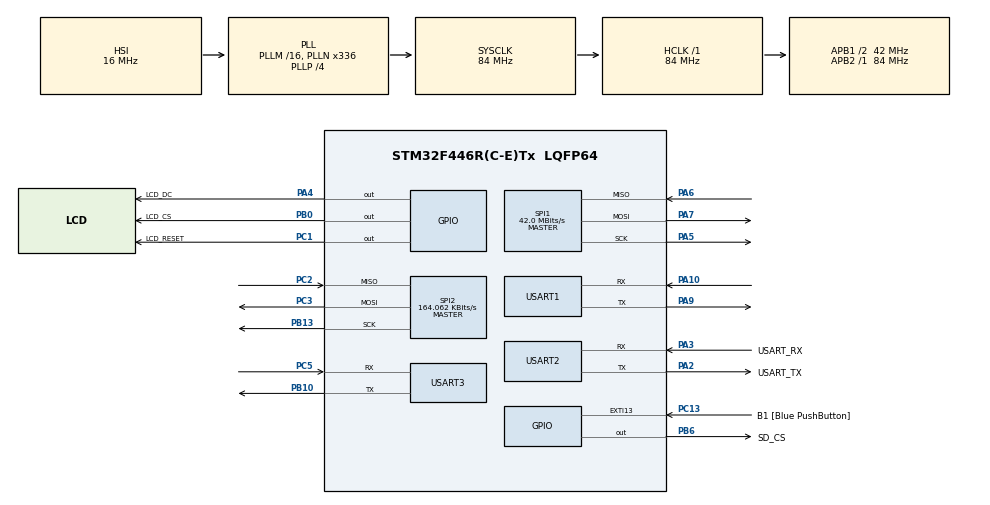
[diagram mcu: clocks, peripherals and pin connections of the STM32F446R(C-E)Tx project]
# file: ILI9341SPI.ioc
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FATFS._MAX_SS=4096
FATFS._USE_LFN=1
Mcu.Family=STM32F4
Mcu.Name=STM32F446R(C-E)Tx
Mcu.Package=LQFP64
NVIC.PriorityGroup=NVIC_PRIORITYGROUP_0
NVIC.USART1_IRQn=true\:0\:0\:false\:false\:true\:true\:true\:true
PA10.Mode=Asynchronous
PA10.Signal=USART1_RX
PA13.GPIO_Label=TMS
PA13.Mode=Serial_Wire
PA13.Signal=SYS_JTMS-SWDIO
PA14.GPIO_Label=TCK
PA14.Mode=Serial_Wire
PA14.Signal=SYS_JTCK-SWCLK
PA2.GPIO_Label=USART_TX
PA2.Mode=Asynchronous
PA2.Signal=USART2_TX
PA3.GPIO_Label=USART_RX
PA3.Mode=Asynchronous
PA3.Signal=USART2_RX
PA4.GPIO_Label=LCD_DC
PA4.GPIO_Speed=GPIO_SPEED_FREQ_MEDIUM
PA4.Signal=GPIO_Output
PA5.Mode=Full_Duplex_Master
PA5.Signal=SPI1_SCK
PA6.Mode=Full_Duplex_Master
PA6.Signal=SPI1_MISO
PA7.Mode=Full_Duplex_Master
PA7.Signal=SPI1_MOSI
PA9.Mode=Asynchronous
PA9.Signal=USART1_TX
PB0.GPIO_Label=LCD_CS
PB0.GPIO_Speed=GPIO_SPEED_FREQ_MEDIUM
PB0.Signal=GPIO_Output
PB10.Mode=Asynchronous
PB10.Signal=USART3_TX
PB13.Mode=Full_Duplex_Master
PB13.Signal=SPI2_SCK
PB3.GPIO_Label=SWO
PB3.Signal=SYS_JTDO-SWO
PB6.GPIO_Label=SD_CS
PB6.GPIO_Speed=GPIO_SPEED_FREQ_MEDIUM
PB6.PinState=GPIO_PIN_SET
PB6.Signal=GPIO_Output
PC1.GPIO_Label=LCD_RESET
PC1.GPIO_Speed=GPIO_SPEED_FREQ_MEDIUM
PC1.Signal=GPIO_Output
PC13.GPIO_Label=B1 [Blue PushButton]
PC13.GPIO_ModeDefaultEXTI=GPIO_MODE_IT_FALLING
PC13.Signal=GPXTI13
PC14-OSC32_IN.Mode=LSE-External-Oscillator
PC14-OSC32_IN.Signal=RCC_OSC32_IN
PC15-OSC32_OUT.Mode=LSE-External-Oscillator
PC15-OSC32_OUT.Signal=RCC_OSC32_OUT
PC2.Mode=Full_Duplex_Master
PC2.Signal=SPI2_MISO
PC3.Mode=Full_Duplex_Master
PC3.Signal=SPI2_MOSI
PC5.Mode=Asynchronous
PC5.Signal=USART3_RX
PH0-OSC_IN.Mode=HSE-External-Oscillator
PH0-OSC_IN.Signal=RCC_OSC_IN
PH1-OSC_OUT.Mode=HSE-External-Oscillator
PH1-OSC_OUT.Signal=RCC_OSC_OUT
ProjectManager.HeapSize=0x200
ProjectManager.StackSize=0x400
ProjectManager.TargetToolchain=STM32CubeIDE
RCC.48MHZClocksFreq_Value=84000000
RCC.AHBFreq_Value=84000000
RCC.APB1CLKDivider=RCC_HCLK_DIV2
RCC.APB1Freq_Value=42000000
RCC.APB1TimFreq_Value=84000000
RCC.APB2Freq_Value=84000000
RCC.APB2TimFreq_Value=84000000
RCC.CortexFreq_Value=84000000
RCC.FLatency-AdvancedSettings=FLASH_LATENCY_2
RCC.HCLKFreq_Value=84000000
RCC.HSE_VALUE=8000000
RCC.HSI_VALUE=16000000
RCC.PLLN=336
RCC.PLLP=RCC_PLLP_DIV4
RCC.SYSCLKFreq_VALUE=84000000
RCC.SYSCLKSource=RCC_SYSCLKSOURCE_PLLCLK
RCC.USBFreq_Value=168000000
RCC.VCOOutputFreq_Value=336000000
SPI1.BaudRatePrescaler=SPI_BAUDRATEPRESCALER_2
SPI1.CalculateBaudRate=42.0 MBits/s
SPI1.Direction=SPI_DIRECTION_2LINES
SPI1.Mode=SPI_MODE_MASTER
SPI1.VirtualType=VM_MASTER
SPI2.BaudRatePrescaler=SPI_BAUDRATEPRESCALER_256
SPI2.CalculateBaudRate=164.062 KBits/s
SPI2.Direction=SPI_DIRECTION_2LINES
SPI2.Mode=SPI_MODE_MASTER
SPI2.VirtualType=VM_MASTER
USART1.VirtualMode=VM_ASYNC
USART2.VirtualMode=VM_ASYNC
USART3.VirtualMode=VM_ASYNC
VP_FATFS_VS_Generic.Mode=User_defined
board=NUCLEO-F446RE

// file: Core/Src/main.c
/* USER CODE BEGIN Header */
/**
 ******************************************************************************
 * @file           : main.c
 * @brief          : Main program body
 ******************************************************************************
 * @attention
 *
 * Copyright (c) 2024 STMicroelectronics.
 * All rights reserved.
 *
 * This software is licensed under terms that can be found in the LICENSE file
 * in the root directory of this software component.
 * If no LICENSE file comes with this software, it is provided AS-IS.
 *
 ******************************************************************************
 */
/* USER CODE END Header */
#include "main.h"
#include "fatfs.h"

/* USER CODE BEGIN Includes */
#include "ili9341.h"
#include "bitmaps.h"
#include "fatfs_sd.h"
#include <string.h>
#include <stdio.h>
/* USER CODE END Includes */

/* USER CODE BEGIN PTD */

// Struct para definir direcciones
typedef enum {
    DIR_UP    = 0,
    DIR_LEFT  = 1,
    DIR_DOWN  = 2,
    DIR_RIGHT = 3
} BikeDir;

// Struct principal para definir jugadores/motos
typedef struct {
    int             x, y;
    int             prev_x, prev_y;
    BikeDir         dir;
    int             speed;
    const uint16_t *sheet;			// Sprite seleccionado
    uint16_t        transp;			// transparente
    uint16_t 		trail_color;	// color de trazo
    int				lives;
    const uint16_t *icon;			// icono para mostrar vidas
    uint8_t         char_index;		// indice para personaje, sin utilizar
} Bike;

// Definicion de caja de colisiones con offsets
typedef struct {
    int off_x, off_y;
    int w, h;
} HitboxRect;

// Struct de inputs de controles
typedef struct {
    uint8_t j1_yes;   // P1 A boton, Rapido
    uint8_t j1_no;    // P1 B boton <NO UTILIZADO>
    uint8_t j2_yes;   // P2 A
    uint8_t j2_no;    // P2 B
    uint8_t j1_x;     // 0=izq 127=centro 255=der
    uint8_t j1_y;     // 0=arriba   127=centro 255=abajo
    uint8_t j2_x;
    uint8_t j2_y;
} struct_mensaje;

/* USER CODE END PTD */

/* USER CODE BEGIN PD */

// definiciones numericas para limites y bordes
#define ARENA_X0      2
#define ARENA_Y0      36
#define ARENA_X1      316
#define ARENA_Y1      236

#define ARENA_W_TILES 160
#define ARENA_H_TILES 120

#define BIKE_W        16
#define BIKE_H        16
#define BIKE_TRANSP   0x0263 // #004D19
// color transparente

// Definiciones numericas para caja de colisiones y manejo de cambio de dimensiones por direccion
// Las colisiones de las motos se manejan por sus cabezas, un cuadro de 2x2 pixeles.
#define HITBOX_LONG   BIKE_W
#define HITBOX_SHORT  6
#define HITBOX_INSET  ((BIKE_W - HITBOX_SHORT) / 2)

// Definiciones numericas para dimensiones de la moto
#define BIKE_X_MIN    ARENA_X0
#define BIKE_Y_MIN    ARENA_Y0
#define BIKE_X_MAX    (ARENA_X1 - BIKE_W)
#define BIKE_Y_MAX    (ARENA_Y1 - BIKE_H)

// Definiciones numericas para limites de joysticks, evitar falsos inputs
#define JOY_CENTER       127
#define JOY_DEADZONE      80

// Velocidades de moto
#define BIKE_SPEED_NORMAL  2
#define BIKE_SPEED_FAST    4

/* USER CODE END PD */

SPI_HandleTypeDef hspi1;
SPI_HandleTypeDef hspi2;

UART_HandleTypeDef huart1;
UART_HandleTypeDef huart2;
UART_HandleTypeDef huart3;

/* USER CODE BEGIN PV */

// Tileset para modo de juego carreras/laberinto, definicion de los bordes y meta
extern const uint8_t race_map[120][160];

// Externas correspondientes a bitmaps, fondos, sprites, etc.
extern const uint16_t arena_bg[];
extern const uint16_t cinematic[];

extern const uint16_t car_sel[];

extern const uint16_t bike_blue[];
extern const uint16_t bike_samflyn[];
extern const uint16_t bike_kevinflyn[];
extern const uint16_t bike_orange[];
extern const uint16_t bike_clu[];
extern const uint16_t bike_ares[];

extern const uint16_t icon_blue[];
extern const uint16_t icon_orange[];
extern const uint16_t icon_sam[];
extern const uint16_t icon_flyn[];
extern const uint16_t icon_clu[];
extern const uint16_t icon_ares[];

// Definicion de array para importar
uint8_t arena_map[ARENA_H_TILES][ARENA_W_TILES];

// Variables para color de trazos
uint16_t p1_trace_color;
uint16_t p2_trace_color;

// Variables para comunicacion por UART con STM de audio
uint8_t rx_byte;
uint8_t rx_payload[8];
volatile uint8_t  sincronizado = 0;

// Struct especifico para inputs de controles
volatile struct_mensaje datosJugadores;
uint8_t val = 0;
char msg[3];

volatile uint8_t dbg_pending = 0;
uint8_t dbg_copy[8];
/* USER CODE END PV */

void SystemClock_Config(void);
static void MX_GPIO_Init(void);
static void MX_USART2_UART_Init(void);
static void MX_SPI1_Init(void);
static void MX_USART1_UART_Init(void);
static void MX_USART3_UART_Init(void);
static void MX_SPI2_Init(void);
/* USER CODE BEGIN PFP */

// Funcion para pintado de trazos por jugador
void DrawTraceAndMarkMap(int cx, int cy, uint16_t color, uint8_t player_id);
/* USER CODE END PFP */

/* USER CODE BEGIN 0 */

// Funciones para lectura y escritura de tarjeta SD
FATFS fs;
FRESULT fres;

// Función para leer linea por linea de bitmap en almacenamiento de SD y cargar directamente a pantalla
// Se realiza de esta manera para evitar sobrecargar el bus al momento de cargar nuevo fondo
void Draw_BG_From_SD(const char* filename) {
    FIL file;
    UINT bytes_read;
    uint8_t line_buffer[640];

    if (f_open(&file, filename, FA_READ) == FR_OK) {
        // Función setwindows utiliza comandos LCD_cmd y se encarga de configuracion
        SetWindows(0, 0, 319, 239);

        //Configurar modo manual
        LCD_DC_H();
        LCD_CS_L();

        //Realizar lectura de SD y escritura a LCD linea por linea
        for (int y = 0; y < 240; y++) {
            f_read(&file, line_buffer, 640, &bytes_read);
            HAL_SPI_Transmit(&hspi1, line_buffer, 640, HAL_MAX_DELAY);
        }

        LCD_CS_H();
        // cerrar SD
        f_close(&file);
    } else {
        LCD_Clear(0xF800);
    }
}

// Funciones para puntaje de cada personaje <Sin utilizar>

uint16_t char_wins[6] = {0, 0, 0, 0, 0, 0}; // 0=Blue, 1=Sam, 2=Kevin, 3=Orange, 4=Clu, 5=Ares

void Save_Scores() {
    FIL file;
    UINT bytes_written;

    // Abrir archivo
    if (f_open(&file, "scores.bin", FA_WRITE | FA_CREATE_ALWAYS) == FR_OK) {
        // Escribir mensaje especifico
        f_write(&file, char_wins, sizeof(char_wins), &bytes_written);
        f_close(&file);
    }
}

// Cargar puntuaciones
void Load_Scores() {
    FIL file;
    UINT bytes_read;

    // Abrir archivo y cargar
    if (f_open(&file, "scores.bin", FA_READ) == FR_OK) {
        f_read(&file, char_wins, sizeof(char_wins), &bytes_read);
        f_close(&file);
    } else {
    	// Manda sobreescribir o crear archivo si no existe
        Save_Scores();
    }
}

// Lógica para el renderizado de los 'iconos' o vidas en parte superior de pantalla
// 3 personajes diferentes por jugador, distribuir 3 iconos en pantalla
void Draw_Dashboard(Bike *b1, Bike *b2) {
    for (int i = 0; i < 4; i++) {
        int x1 = 2 + i * 32;
        int x2 = 286 - i * 32;
        if (i < b1->lives)
            LCD_SpriteOverBg(x1, 2, 32, 32, b1->icon, 5, 0, 0, 0, BIKE_TRANSP, arena_bg, 320);
        if (i < b2->lives)
            LCD_SpriteOverBg(x2, 2, 32, 32, b2->icon, 5, 0, 0, 0, BIKE_TRANSP, arena_bg, 320);
    }
}

// Cargar animacion de los iconos de vidas al momento que un jugador pierda una vida
void Explode_Life_Icon(int x, int y, const uint16_t *icon) {
    for (int frame = 1; frame <= 4; frame++) {
        LCD_SpriteOverBg(x, y, 32, 32, icon, 5, frame, 0, 0, BIKE_TRANSP, arena_bg, 320);
        HAL_Delay(150);
    }
}

// Lógica para el renderizado de los trazos, toma en cuenta la posicion de el origen de la cabeza
// objeto que define la hitbox. Se encargan de centrar la hitbox para cada diferente posicion.
typedef struct { int8_t dx0, dy0, dx1, dy1; } TrailOffsets;

static const HitboxRect hitbox_for_dir[4] = {
    { HITBOX_INSET, 0,            HITBOX_SHORT, HITBOX_LONG  },	//
    { 0,            HITBOX_INSET, HITBOX_LONG,  HITBOX_SHORT }, //
    { HITBOX_INSET, 0,            HITBOX_SHORT, HITBOX_LONG  }, //
    { 0,            HITBOX_INSET, HITBOX_LONG,  HITBOX_SHORT }, //
};

// Función que verifica direccion de la moto, toma la entrada correspondiente hitboxrect para
// retornar los correspondientes valores dependiendo de la dirección.
static inline void bike_get_hitbox(const Bike *b,
                                   int *hx, int *hy, int *hw, int *hh) {
    const HitboxRect *r = &hitbox_for_dir[b->dir];
    *hx = b->x + r->off_x;
    *hy = b->y + r->off_y;
    *hw = r->w;
    *hh = r->h;
}

// Función para verificar colisiones contra cabeza de moto
int check_trace_collision(Bike *b) {
    int head_x = b->x + 7; // centro X
    int head_y = b->y + 7; // centro Y

    // Mover coordinada de chequeo para el frente, verificar donde hubo colision
    if (b->dir == DIR_UP) head_y = b->y;
    else if (b->dir == DIR_DOWN) head_y = b->y + 15;
    else if (b->dir == DIR_LEFT) head_x = b->x;
    else if (b->dir == DIR_RIGHT) head_x = b->x + 15;

    int mx = (head_x - ARENA_X0) / 2;
    int my = (head_y - ARENA_Y0) / 2;

    // Retornar el contenido exacto con lo que tuvo contacto el objeto
    if (mx >= 0 && mx < ARENA_W_TILES && my >= 0 && my < ARENA_H_TILES) {
        return arena_map[my][mx];
    }
    return 1; // Si es fuera de bordes, tomar como colision normal
}

// Función para verificar colisiones frontales entre las dos motos
// Compara las coordenadas X e Y de ambas motos.
int check_head_on(Bike *b1, Bike *b2) {
    int dx = b1->x - b2->x;
    int dy = b1->y - b2->y;
    // Si los centros de ambas motos están a menos de 10 píxeles de distancia, se considera un choque frontal
    if (dx > -10 && dx < 10 && dy > -10 && dy < 10) return 1;
    return 0;
}

// Función principal que maneja la lógica posterior a un choque (animación, vidas, reinicio)
// mode = 0 (Duel), mode = 1 (Race/Cache Leak)
int handle_crash(Bike *b1, Bike *b2, int p1_crashed, int p2_crashed, int mode) {
    val = snprintf(msg, sizeof(msg), "%u", 6);
    HAL_UART_Transmit(&huart3, (uint8_t *)msg, val, HAL_MAX_DELAY);

    // Reproducir animación de explosión en la pista (frames 4-7 de la hoja de sprites)
    for (int frame = 4; frame <= 7; frame++) {
        if (p1_crashed)
            LCD_SpriteOverBg(b1->x, b1->y, BIKE_W, BIKE_H, b1->sheet, 8, frame, 0, 0, b1->transp, arena_bg, 320);
        if (p2_crashed)
            LCD_SpriteOverBg(b2->x, b2->y, BIKE_W, BIKE_H, b2->sheet, 8, frame, 0, 0, b2->transp, arena_bg, 320);
        HAL_Delay(150);
    }

    // Quitar vidas y reproducir explosión en el dashboard
    // El valor b->lives se usa como índice para determinar que icono destruir
    if (p1_crashed) {
        b1->lives--;
        Explode_Life_Icon(2 + b1->lives * 32, 2, b1->icon);
    }
    if (p2_crashed) {
        b2->lives--;
        Explode_Life_Icon(286 - b2->lives * 32, 2, b2->icon);
    }

    // Terminar juego cuando algun jugador se quede sin vidas
    if (b1->lives <= 0 || b2->lives <= 0)
        return 1;

    b1->x = BIKE_X_MIN; b1->y = BIKE_Y_MIN;
    b1->prev_x = BIKE_X_MIN; b1->prev_y = BIKE_Y_MIN;
    b1->dir = DIR_RIGHT;

    b2->x = BIKE_X_MAX; b2->y = BIKE_Y_MAX;
    b2->prev_x = BIKE_X_MAX; b2->prev_y = BIKE_Y_MAX;
    b2->dir = DIR_LEFT;

    // Cargar fondo de pantalla dependiendo de modo de juego
	if (mode == 0) {
		memset(arena_map, 0, sizeof(arena_map));
		LCD_Bitmap(0, 0, 320, 240, arena_bg);
	} else {
		memcpy(arena_map, race_map, sizeof(arena_map));
		Draw_BG_From_SD("speedcircuit_bg.bin");
	}

	// Dibujar 'dashboard' que contiene vidas
    Draw_Dashboard(b1, b2);

    LCD_SpriteOverBg(b1->x, b1->y, BIKE_W, BIKE_H, b1->sheet, 8, (int)b1->dir, 0, 0, b1->transp, arena_bg, 320);
    LCD_SpriteOverBg(b2->x, b2->y, BIKE_W, BIKE_H, b2->sheet, 8, (int)b2->dir, 0, 0, b2->transp, arena_bg, 320);

    HAL_Delay(2000);
    //enviar comando de audio para iniciar motos
    val = snprintf(msg, sizeof(msg), "%u", 4);
    HAL_UART_Transmit(&huart3, (uint8_t *)msg, val, HAL_MAX_DELAY);
    return 0;
}

// Pegar los inputs del struct a las respectivas variables de las motos
static inline void input_to_bike(uint8_t jx, uint8_t jy,
                                 uint8_t btn_slow, uint8_t btn_fast,
                                 BikeDir *io_dir, int *out_speed) {
    int dx = (int)jx - JOY_CENTER;
    int dy = (int)jy - JOY_CENTER;
    int ax = dx < 0 ? -dx : dx;
    int ay = dy < 0 ? -dy : dy;

    BikeDir requested = *io_dir;
    if (ax >= JOY_DEADZONE || ay >= JOY_DEADZONE) {
        if (ax > ay)      requested = (dx > 0) ? DIR_RIGHT : DIR_LEFT;
        else if (ay > ax) requested = (dy > 0) ? DIR_DOWN  : DIR_UP;
    }

    // Evitar giros de 180 grados
    BikeDir cur = *io_dir;
    int is_reverse =
        (cur == DIR_UP    && requested == DIR_DOWN)  ||
        (cur == DIR_DOWN  && requested == DIR_UP)    ||
        (cur == DIR_LEFT  && requested == DIR_RIGHT) ||
        (cur == DIR_RIGHT && requested == DIR_LEFT);
    if (!is_reverse) *io_dir = requested;

    // logica de velocidades
    if (btn_fast) *out_speed = BIKE_SPEED_FAST;
    else *out_speed = BIKE_SPEED_NORMAL;
}

/* USER CODE END 0 */

int main(void)
{

  /* MCU Configuration--------------------------------------------------------*/

  /* Reset of all peripherals, Initializes the Flash interface and the Systick. */
  HAL_Init();

  /* Configure the system clock */
  SystemClock_Config();

  /* Initialize all configured peripherals */
  MX_GPIO_Init();
  MX_USART2_UART_Init();
  MX_SPI1_Init();
  MX_USART1_UART_Init();
  MX_USART3_UART_Init();
  MX_SPI2_Init();
  MX_FATFS_Init();
  /* USER CODE BEGIN 2 */

		// Parar todo audio
		val = snprintf(msg, sizeof(msg), "%u", 0);
		HAL_UART_Transmit(&huart3, (uint8_t *)msg, val, HAL_MAX_DELAY);

		// Limpiar pantalla
		LCD_Init();
		LCD_Clear(0x0000);

		// Montar tarjeta SD
		f_mount(&fs, "", 1);
		hspi2.Init.BaudRatePrescaler = SPI_BAUDRATEPRESCALER_4;
		HAL_SPI_Init(&hspi2);
		Load_Scores();

		// Iniciar animación de Startup
		HAL_Delay(2000);
		LCD_FadeInPartial(189, 79, 5, 3, cinematic, 26, 41, 63, 2);
		HAL_Delay(2000);

		val = snprintf(msg, sizeof(msg), "%u", 1);
		HAL_UART_Transmit(&huart3, (uint8_t *)msg, val, HAL_MAX_DELAY);

		LCD_FadeInTransparent(163, 38, 63, 108, cinematic, BIKE_TRANSP, 4);
		HAL_Delay(1000);

		while (1) { //Bucle principal, siempre se regresará aqui cuando termine una ronda

		// Dibujar el menu de la SD
		Draw_BG_From_SD("menu.bin");
		HAL_Delay(2000);

		val = snprintf(msg, sizeof(msg), "%u", 2);
		HAL_UART_Transmit(&huart3, (uint8_t *)msg, val, HAL_MAX_DELAY);

		// Empezar a recibir datos
		HAL_UART_Receive_IT(&huart1, &rx_byte, 1);

		// Menu principal
		uint8_t Play = 0;
		int selected_mode = 0;
		uint8_t prev_j1_y = 127;
		uint8_t prev_j1_no = 0;

		int txt1_x = 20, txt1_y = 170;
		int txt2_x = 20, txt2_y = 200;

		// Seleccion de modo de juego
		while (Play == 0) {
			struct_mensaje snap = datosJugadores;

			if (snap.j1_y < 80 && prev_j1_y >= 80) {
				selected_mode = 0;
			} else if (snap.j1_y > 170 && prev_j1_y <= 170) {
				selected_mode = 1;
			}
			prev_j1_y = snap.j1_y;

			//Texto de menu
			if (selected_mode == 0) {
				LCD_Print("> LIGHTCYCLE DUEL", txt1_x, txt1_y, 1, 0x04FF, 0x0000);
				LCD_Print("     CACHE LEAK  ", txt2_x, txt2_y, 1, 0xFFFF, 0x0000);
			} else {
				LCD_Print("  LIGHTCYCLE DUEL", txt1_x, txt1_y, 1, 0xFFFF, 0x0000);
				LCD_Print(">    CACHE LEAK  ", txt2_x, txt2_y, 1, 0x04FF, 0x0000);
			}

			if (snap.j1_no != 0 && prev_j1_no == 0) {
				Play = 1;
			}
			prev_j1_no = snap.j1_no;

			HAL_Delay(50);

		}

		LCD_Clear(0x0000);
		HAL_Delay(500);

		// Menu de selección de personaje

		// personajes por defecto
		const uint16_t *p1_selected_sheet = bike_blue;
		const uint16_t *p2_selected_sheet = bike_orange;

		const uint16_t *p1_icon = icon_blue;
		const uint16_t *p2_icon = icon_orange;

		uint8_t p1_char = 0; // 0=Blue, 1=Sam, 2=Kevin
		uint8_t p2_char = 0; // 0=Orange, 1=Clu, 2=Ares

		// Inicializar pantalla de seleccion de personaje
		if (selected_mode == 0 || selected_mode == 1) {
			Draw_BG_From_SD("charsel.bin");

			uint8_t p1_ready = 0;
			uint8_t p2_ready = 0;

			uint8_t prev_j1_x = 127;
			uint8_t prev_j2_x = 127;
			uint8_t prev_j1_no = 0;
			uint8_t prev_j2_no = 0;

			int p1_draw_x = 16, p1_draw_y = 88;
			int p2_draw_x = 176, p2_draw_y = 88;

			LCD_Print("  PROGRAM 1  ", 30, 60, 1, 0x07FF, 0x0000);
			LCD_Print("  PROGRAM 2  ", 190, 60, 1, 0xFD20, 0x0000);

			uint8_t force_render = 1;

			// Bucle para seleccion de personaje hasta que ambos esten listos
			while (!p1_ready || !p2_ready) {
				struct_mensaje snap = datosJugadores;
				uint8_t update_p1 = force_render;
				uint8_t update_p2 = force_render;
				force_render = 0;

				// Navegacion de jugador 1
				if (!p1_ready) {
					if (snap.j1_x < 80 && prev_j1_x >= 80) {
						p1_char = (p1_char == 0) ? 2 : p1_char - 1;
						update_p1 = 1;
					} else if (snap.j1_x > 170 && prev_j1_x <= 170) {
						p1_char = (p1_char == 2) ? 0 : p1_char + 1;
						update_p1 = 1;
					}
				}
				prev_j1_x = snap.j1_x;

				if (snap.j1_no != 0 && prev_j1_no == 0) {
					p1_ready = !p1_ready; // Seleccionar o deseleccionar
					update_p1 = 1;
				}

				// Navegacion de jugador 2
				if (!p2_ready) {
					if (snap.j2_x < 80 && prev_j2_x >= 80) {
						p2_char = (p2_char == 0) ? 2 : p2_char - 1;
						update_p2 = 1;
					} else if (snap.j2_x > 170 && prev_j2_x <= 170) {
						p2_char = (p2_char == 2) ? 0 : p2_char + 1;
						update_p2 = 1;
					}
				}
				prev_j2_x = snap.j2_x;

				if (snap.j2_no != 0 && prev_j2_no == 0) {
					p2_ready = !p2_ready; // Seleccionar o deseleccionar
					update_p2 = 1;
				}

				prev_j1_no = snap.j1_no;
				prev_j2_no = snap.j2_no;

				// Actualizar sprites en pantalla si hubo cambio de seleccion
				if (update_p1) {
					FillRect(p1_draw_x, p1_draw_y, 128, 64, 0x0000);
					LCD_BitmapPartialTransparent(p1_draw_x, p1_draw_y, 128, 64, car_sel, p1_char * 128, 0, 768, BIKE_TRANSP);

					if (p1_ready) LCD_Print("  READY  ", 40, 160, 1, 0x07E0, 0x0000);
					else LCD_Print("         ", 40, 160, 1, 0x0000, 0x0000);
				}

				if (update_p2) {
					FillRect(p2_draw_x, p2_draw_y, 128, 64, 0x0000);
					LCD_BitmapPartialTransparent(p2_draw_x, p2_draw_y, 128, 64, car_sel, (p2_char + 3) * 128, 0, 768, BIKE_TRANSP);

					if (p2_ready) LCD_Print("  READY  ", 200, 160, 1, 0x07E0, 0x0000);
					else LCD_Print("         ", 200, 160, 1, 0x0000, 0x0000);
				}

				HAL_Delay(50);
			}

			// Arrays de sprites e iconos disponibles, indexados por numero de personaje
			const uint16_t* p1_choices[3] = {bike_blue, bike_samflyn, bike_kevinflyn};
			const uint16_t* p2_choices[3] = {bike_orange, bike_clu, bike_ares};

			const uint16_t* p1_icon_choices[3] = {icon_blue, icon_sam, icon_flyn};
			const uint16_t* p2_icon_choices[3] = {icon_orange, icon_clu, icon_ares};

			// Asignar sprite e icono segun seleccion final de cada jugador
			p1_icon = p1_icon_choices[p1_char];
			p2_icon = p2_icon_choices[p2_char];

			p1_selected_sheet = p1_choices[p1_char];
			p2_selected_sheet = p2_choices[p2_char];

			HAL_Delay(1000);
		}

		// Parar audio y cargar arena segun modo de juego seleccionado
		val = snprintf(msg, sizeof(msg), "%u", 0);
		HAL_UART_Transmit(&huart3, (uint8_t *)msg, val, HAL_MAX_DELAY);

		if (selected_mode == 0) {
			memset(arena_map, 0, sizeof(arena_map));
			LCD_Bitmap(0, 0, 320, 240, arena_bg);
		} else {
			memcpy(arena_map, race_map, sizeof(arena_map));
			Draw_BG_From_SD("speedcircuit_bg.bin");
		}

		// Snapshot inicial de botones para detectar cambios de estado
		struct_mensaje snap = datosJugadores;
		uint8_t p_j1 = snap.j1_no;
		uint8_t p_j2 = snap.j2_no;

		// Enviar comando de audio para inicio de motos
		val = snprintf(msg, sizeof(msg), "%u", 4);
		HAL_UART_Transmit(&huart3, (uint8_t *)msg, val, HAL_MAX_DELAY);

		// Inicializar moto de Jugador 1
		Bike bike = {
			.x           = BIKE_X_MIN,
			.y           = BIKE_Y_MIN,
			.prev_x      = BIKE_X_MIN,
			.prev_y      = BIKE_Y_MIN,
			.dir         = DIR_RIGHT,
			.speed       = BIKE_SPEED_NORMAL,
			.sheet       = p1_selected_sheet,
			.transp      = BIKE_TRANSP,
			.lives       = 3,
			.icon        = p1_icon,
			.char_index  = p1_char,
		};

		// Inicializar moto de Jugador 2
		Bike bike2 = {
			.x           = BIKE_X_MAX,
			.y           = BIKE_Y_MAX,
			.prev_x      = BIKE_X_MAX,
			.prev_y      = BIKE_Y_MAX,
			.dir         = DIR_LEFT,
			.speed       = BIKE_SPEED_NORMAL,
			.sheet       = p2_selected_sheet,
			.transp      = BIKE_TRANSP,
			.lives       = 3,
			.icon        = p2_icon,
			.char_index  = p2_char + 3,
		};

		// Extraer color de trazo desde el pixel de paleta del sprite (pixel fijo 1928)
		p1_trace_color = bike.sheet[1928];
		p2_trace_color = bike2.sheet[1928];
		bike.trail_color = p1_trace_color;
		bike2.trail_color = p2_trace_color;

		// Renderizar ambas motos y dashboard en posicion inicial
		LCD_SpriteOverBg(bike.x, bike.y, BIKE_W, BIKE_H,
						 bike.sheet, 8, (int)bike.dir, 0, 0,
						 bike.transp, arena_bg, 320);

		LCD_SpriteOverBg(bike2.x, bike2.y, BIKE_W, BIKE_H,
						 bike2.sheet, 8, (int)bike2.dir, 0, 0,
						 bike2.transp, arena_bg, 320);

		Draw_Dashboard(&bike, &bike2);

		// Reiniciar recepcion de datos UART
		HAL_UART_Receive_IT(&huart1, &rx_byte, 1);

  /* USER CODE END 2 */

  /* Infinite loop */
  /* USER CODE BEGIN WHILE */

		// Señal de audio para arranque de motos, espera antes de iniciar
		val = snprintf(msg, sizeof(msg), "%u", 3);
		HAL_UART_Transmit(&huart3, (uint8_t *)msg, val, HAL_MAX_DELAY);
		HAL_Delay(2000);

		// Bucle de juego
		while (1) {

			// Leer inputs actuales de ambos jugadores
			struct_mensaje snap = datosJugadores;

			input_to_bike(snap.j1_x, snap.j1_y, snap.j1_yes, snap.j1_no, &bike.dir, &bike.speed);
			input_to_bike(snap.j2_x, snap.j2_y, snap.j2_yes, snap.j2_no, &bike2.dir, &bike2.speed);

			// Guardar posiciones anteriores para restauracion del fondo
			bike.prev_x = bike.x;
			bike2.prev_x = bike2.x;
			bike.prev_y = bike.y;
			bike2.prev_y = bike2.y;

			// Avanzar moto Jugador 1 y marcar trazo en el mapa
			int steps1 = bike.speed / 2;
			for (int s = 0; s < steps1; s++) {
				int screen_cx = bike.x + 7;
				int screen_cy = bike.y + 7;

				int mx1 = (screen_cx - ARENA_X0) / 2;
				int my1 = (screen_cy - ARENA_Y0) / 2;

				if (mx1 >= 0 && mx1 < ARENA_W_TILES && my1 >= 0 && my1 < ARENA_H_TILES) arena_map[my1][mx1] = 1;

				switch (bike.dir) {
					case DIR_RIGHT: bike.x += 2; break;
					case DIR_LEFT:  bike.x -= 2; break;
					case DIR_DOWN:  bike.y += 2; break;
					case DIR_UP:    bike.y -= 2; break;
				}

			}

			// Avanzar moto Jugador 2 y marcar trazo en el mapa
			int steps2 = bike2.speed / 2;
			for (int s = 0; s < steps2; s++) {
				int screen_cx2 = bike2.x + 7;
				int screen_cy2 = bike2.y + 7;

				int mx2 = (screen_cx2 - ARENA_X0) / 2;
				int my2 = (screen_cy2 - ARENA_Y0) / 2;

				if (mx2 >= 0 && mx2 < ARENA_W_TILES && my2 >= 0 && my2 < ARENA_H_TILES) arena_map[my2][mx2] = 3;

				switch (bike2.dir) {
					case DIR_RIGHT: bike2.x += 2; break;
					case DIR_LEFT:  bike2.x -= 2; break;
					case DIR_DOWN:  bike2.y += 2; break;
					case DIR_UP:    bike2.y -= 2; break;
				}
			}

			// Deteccion de colisiones
			int p1_crashed = 0;
			int p2_crashed = 0;

			// Verificar colision con bordes de pantalla
			if (bike.x < BIKE_X_MIN || bike.x > BIKE_X_MAX || bike.y < BIKE_Y_MIN || bike.y > BIKE_Y_MAX) p1_crashed = 1;
			if (bike2.x < BIKE_X_MIN || bike2.x > BIKE_X_MAX || bike2.y < BIKE_Y_MIN || bike2.y > BIKE_Y_MAX) p2_crashed = 1;

			// Verificar colision contra trazos y paredes del mapa
			int hit1 = check_trace_collision(&bike);
			int hit2 = check_trace_collision(&bike2);

			// Colision con pared: el jugador que choco muere
			if (hit1 == 1 || hit1 == 3) p1_crashed = 1;
			if (hit2 == 1 || hit1 == 3) p2_crashed = 1;

			// Colision con trampa: danya al oponente
			if (hit1 == 2) p2_crashed = 1;
			if (hit2 == 2) p1_crashed = 1;

			// Verificar colision frontal entre motos
			if (check_head_on(&bike, &bike2)) {
				p1_crashed = 1;
				p2_crashed = 1;
			}

			// Procesar choque si algun jugador colisiono
			if (p1_crashed || p2_crashed) {

				// handle_crash retorna 1 si el juego termino (alguien sin vidas)
				if (handle_crash(&bike, &bike2, p1_crashed, p2_crashed, selected_mode)) {

					// Determinar ganador segun vidas restantes
					int winner = 0; // 0=Empate, 1=Jugador1, 2=Jugador2

					if (bike.lives > 0 && bike2.lives <= 0) winner = 1;
					else if (bike2.lives > 0 && bike.lives <= 0) winner = 2;

					// Mostrar mensaje de ganador en pantalla
					char win_msg[24];

					if (winner == 1) {
						snprintf(win_msg, sizeof(win_msg), "    PROGRAM %d QUALIFIED", winner);
						FillRect(30, 95, 260, 50, 0x0000);
						LCD_Print(win_msg, 45, 112, 1, 0x07FF, 0x0000);
						char_wins[bike.char_index]++;
					} else if (winner == 2) {
						snprintf(win_msg, sizeof(win_msg), "    PROGRAM %d QUALIFIED", winner);
						FillRect(30, 95, 260, 50, 0x0000);
						LCD_Print(win_msg, 45, 112, 1, 0xFD20, 0x0000);
						char_wins[bike2.char_index]++;
					} else if (winner == 0) {
						snprintf(win_msg, sizeof(win_msg), "     ERR: NO QUALIFIER");
						FillRect(30, 95, 260, 50, 0x0000);
						LCD_Print(win_msg, 45, 112, 1, 0xF800, 0x0000);
					}

					// Guardar puntaje si hay ganador
					if (winner != 0) Save_Scores();

					// Parar audio y esperar input de cualquier jugador para volver al menu
					val = snprintf(msg, sizeof(msg), "%u", 0);
					HAL_UART_Transmit(&huart3, (uint8_t *)msg, val, HAL_MAX_DELAY);
					val = snprintf(msg, sizeof(msg), "%u", 7);
					HAL_UART_Transmit(&huart3, (uint8_t *)msg, val, HAL_MAX_DELAY);
					while (!datosJugadores.j1_yes && !datosJugadores.j1_no)
						HAL_Delay(50);
					break;
				}
				continue;
			}

			// Restaurar fondo en area de movimiento y redibujar motos
			LCD_RestoreBgDelta(bike.prev_x, bike.prev_y, bike.x, bike.y,
					BIKE_W, BIKE_H, arena_bg, 320, 0, 0, 0, 0, bike.trail_color);

			LCD_SpriteOverBg(bike.x, bike.y, BIKE_W, BIKE_H, bike.sheet, 8,
					(int) bike.dir, 0, 0, bike.transp, arena_bg, 320);

			LCD_RestoreBgDelta(bike2.prev_x, bike2.prev_y, bike2.x, bike2.y,
					BIKE_W, BIKE_H, arena_bg, 320, 0, 0, 0, 0, bike2.trail_color);

			LCD_SpriteOverBg(bike2.x, bike2.y, BIKE_W, BIKE_H, bike2.sheet, 8,
					(int) bike2.dir, 0, 0, bike2.transp, arena_bg, 320);

			// Enviar señal de audio si cambia estado de algun boton
			if ((p_j1 != snap.j1_no) || (p_j2 != snap.j2_no)) {

				if ((snap.j1_no == 0) && (snap.j2_no == 0)) {
					// Ningun boton presionado: audio de motos en movimiento
					val = snprintf(msg, sizeof(msg), "%u", 4);
					HAL_UART_Transmit(&huart3, (uint8_t*) msg, val, HAL_MAX_DELAY);
				} else if ((p_j1 != 1) || (p_j2 != 1)) {
					// Boton presionado: audio de turbo
					val = snprintf(msg, sizeof(msg), "%u", 5);
					HAL_UART_Transmit(&huart3, (uint8_t*) msg, val, HAL_MAX_DELAY);
				}

				p_j1 = snap.j1_no;
				p_j2 = snap.j2_no;
			}

			HAL_Delay(15);
		}  // fin del bucle de juego

	} // fin del bucle principal
    /* USER CODE END WHILE */

}

void SystemClock_Config(void)
{
  RCC_OscInitTypeDef RCC_OscInitStruct = {0};
  RCC_ClkInitTypeDef RCC_ClkInitStruct = {0};

  /** Configure the main internal regulator output voltage
  */
  __HAL_RCC_PWR_CLK_ENABLE();
  __HAL_PWR_VOLTAGESCALING_CONFIG(PWR_REGULATOR_VOLTAGE_SCALE3);

  /** Initializes the RCC Oscillators according to the specified parameters
  * in the RCC_OscInitTypeDef structure.
  */
  RCC_OscInitStruct.OscillatorType = RCC_OSCILLATORTYPE_HSI;
  RCC_OscInitStruct.HSIState = RCC_HSI_ON;
  RCC_OscInitStruct.HSICalibrationValue = RCC_HSICALIBRATION_DEFAULT;
  RCC_OscInitStruct.PLL.PLLState = RCC_PLL_ON;
  RCC_OscInitStruct.PLL.PLLSource = RCC_PLLSOURCE_HSI;
  RCC_OscInitStruct.PLL.PLLM = 16;
  RCC_OscInitStruct.PLL.PLLN = 336;
  RCC_OscInitStruct.PLL.PLLP = RCC_PLLP_DIV4;
  RCC_OscInitStruct.PLL.PLLQ = 2;
  RCC_OscInitStruct.PLL.PLLR = 2;
  if (HAL_RCC_OscConfig(&RCC_OscInitStruct) != HAL_OK)
  {
    Error_Handler();
  }

  /** Initializes the CPU, AHB and APB buses clocks
  */
  RCC_ClkInitStruct.ClockType = RCC_CLOCKTYPE_HCLK|RCC_CLOCKTYPE_SYSCLK
                              |RCC_CLOCKTYPE_PCLK1|RCC_CLOCKTYPE_PCLK2;
  RCC_ClkInitStruct.SYSCLKSource = RCC_SYSCLKSOURCE_PLLCLK;
  RCC_ClkInitStruct.AHBCLKDivider = RCC_SYSCLK_DIV1;
  RCC_ClkInitStruct.APB1CLKDivider = RCC_HCLK_DIV2;
  RCC_ClkInitStruct.APB2CLKDivider = RCC_HCLK_DIV1;

  if (HAL_RCC_ClockConfig(&RCC_ClkInitStruct, FLASH_LATENCY_2) != HAL_OK)
  {
    Error_Handler();
  }
}

static void MX_SPI1_Init(void)
{

  /* SPI1 parameter configuration*/
  hspi1.Instance = SPI1;
  hspi1.Init.Mode = SPI_MODE_MASTER;
  hspi1.Init.Direction = SPI_DIRECTION_2LINES;
  hspi1.Init.DataSize = SPI_DATASIZE_8BIT;
  hspi1.Init.CLKPolarity = SPI_POLARITY_LOW;
  hspi1.Init.CLKPhase = SPI_PHASE_1EDGE;
  hspi1.Init.NSS = SPI_NSS_SOFT;
  hspi1.Init.BaudRatePrescaler = SPI_BAUDRATEPRESCALER_2;
  hspi1.Init.FirstBit = SPI_FIRSTBIT_MSB;
  hspi1.Init.TIMode = SPI_TIMODE_DISABLE;
  hspi1.Init.CRCCalculation = SPI_CRCCALCULATION_DISABLE;
  hspi1.Init.CRCPolynomial = 10;
  if (HAL_SPI_Init(&hspi1) != HAL_OK)
  {
    Error_Handler();
  }

}

static void MX_SPI2_Init(void)
{

  /* SPI2 parameter configuration*/
  hspi2.Instance = SPI2;
  hspi2.Init.Mode = SPI_MODE_MASTER;
  hspi2.Init.Direction = SPI_DIRECTION_2LINES;
  hspi2.Init.DataSize = SPI_DATASIZE_8BIT;
  hspi2.Init.CLKPolarity = SPI_POLARITY_LOW;
  hspi2.Init.CLKPhase = SPI_PHASE_1EDGE;
  hspi2.Init.NSS = SPI_NSS_SOFT;
  hspi2.Init.BaudRatePrescaler = SPI_BAUDRATEPRESCALER_256;
  hspi2.Init.FirstBit = SPI_FIRSTBIT_MSB;
  hspi2.Init.TIMode = SPI_TIMODE_DISABLE;
  hspi2.Init.CRCCalculation = SPI_CRCCALCULATION_DISABLE;
  hspi2.Init.CRCPolynomial = 10;
  if (HAL_SPI_Init(&hspi2) != HAL_OK)
  {
    Error_Handler();
  }

}

static void MX_USART1_UART_Init(void)
{

  huart1.Instance = USART1;
  huart1.Init.BaudRate = 115200;
  huart1.Init.WordLength = UART_WORDLENGTH_8B;
  huart1.Init.StopBits = UART_STOPBITS_1;
  huart1.Init.Parity = UART_PARITY_NONE;
  huart1.Init.Mode = UART_MODE_TX_RX;
  huart1.Init.HwFlowCtl = UART_HWCONTROL_NONE;
  huart1.Init.OverSampling = UART_OVERSAMPLING_16;
  if (HAL_UART_Init(&huart1) != HAL_OK)
  {
    Error_Handler();
  }

}

static void MX_USART2_UART_Init(void)
{

  huart2.Instance = USART2;
  huart2.Init.BaudRate = 115200;
  huart2.Init.WordLength = UART_WORDLENGTH_8B;
  huart2.Init.StopBits = UART_STOPBITS_1;
  huart2.Init.Parity = UART_PARITY_NONE;
  huart2.Init.Mode = UART_MODE_TX_RX;
  huart2.Init.HwFlowCtl = UART_HWCONTROL_NONE;
  huart2.Init.OverSampling = UART_OVERSAMPLING_16;
  if (HAL_UART_Init(&huart2) != HAL_OK)
  {
    Error_Handler();
  }

}

static void MX_USART3_UART_Init(void)
{

  huart3.Instance = USART3;
  huart3.Init.BaudRate = 115200;
  huart3.Init.WordLength = UART_WORDLENGTH_8B;
  huart3.Init.StopBits = UART_STOPBITS_1;
  huart3.Init.Parity = UART_PARITY_NONE;
  huart3.Init.Mode = UART_MODE_TX_RX;
  huart3.Init.HwFlowCtl = UART_HWCONTROL_NONE;
  huart3.Init.OverSampling = UART_OVERSAMPLING_16;
  if (HAL_UART_Init(&huart3) != HAL_OK)
  {
    Error_Handler();
  }

}

static void MX_GPIO_Init(void)
{
  GPIO_InitTypeDef GPIO_InitStruct = {0};

  /* GPIO Ports Clock Enable */
  __HAL_RCC_GPIOC_CLK_ENABLE();
  __HAL_RCC_GPIOH_CLK_ENABLE();
  __HAL_RCC_GPIOA_CLK_ENABLE();
  __HAL_RCC_GPIOB_CLK_ENABLE();

  /*Configure GPIO pin Output Level */
  HAL_GPIO_WritePin(LCD_RESET_GPIO_Port, LCD_RESET_Pin, GPIO_PIN_RESET);

  /*Configure GPIO pin Output Level */
  HAL_GPIO_WritePin(LCD_DC_GPIO_Port, LCD_DC_Pin, GPIO_PIN_RESET);

  /*Configure GPIO pin Output Level */
  HAL_GPIO_WritePin(LCD_CS_GPIO_Port, LCD_CS_Pin, GPIO_PIN_RESET);

  /*Configure GPIO pin Output Level */
  HAL_GPIO_WritePin(SD_CS_GPIO_Port, SD_CS_Pin, GPIO_PIN_SET);

  /*Configure GPIO pin : B1_Pin */
  GPIO_InitStruct.Pin = B1_Pin;
  GPIO_InitStruct.Mode = GPIO_MODE_IT_FALLING;
  GPIO_InitStruct.Pull = GPIO_NOPULL;
  HAL_GPIO_Init(B1_GPIO_Port, &GPIO_InitStruct);

  /*Configure GPIO pin : LCD_RESET_Pin */
  GPIO_InitStruct.Pin = LCD_RESET_Pin;
  GPIO_InitStruct.Mode = GPIO_MODE_OUTPUT_PP;
  GPIO_InitStruct.Pull = GPIO_NOPULL;
  GPIO_InitStruct.Speed = GPIO_SPEED_FREQ_MEDIUM;
  HAL_GPIO_Init(LCD_RESET_GPIO_Port, &GPIO_InitStruct);

  /*Configure GPIO pin : LCD_DC_Pin */
  GPIO_InitStruct.Pin = LCD_DC_Pin;
  GPIO_InitStruct.Mode = GPIO_MODE_OUTPUT_PP;
  GPIO_InitStruct.Pull = GPIO_NOPULL;
  GPIO_InitStruct.Speed = GPIO_SPEED_FREQ_MEDIUM;
  HAL_GPIO_Init(LCD_DC_GPIO_Port, &GPIO_InitStruct);

  /*Configure GPIO pins : LCD_CS_Pin SD_CS_Pin */
  GPIO_InitStruct.Pin = LCD_CS_Pin|SD_CS_Pin;
  GPIO_InitStruct.Mode = GPIO_MODE_OUTPUT_PP;
  GPIO_InitStruct.Pull = GPIO_NOPULL;
  GPIO_InitStruct.Speed = GPIO_SPEED_FREQ_MEDIUM;
  HAL_GPIO_Init(GPIOB, &GPIO_InitStruct);

}

/* USER CODE BEGIN 4 */

// Callback de interrupcion UART, maneja sincronizacion y recepcion de paquetes de controles
// Protocolo: espera byte 0xAA como inicio de trama, luego recibe 8 bytes de payload
void HAL_UART_RxCpltCallback(UART_HandleTypeDef *huart) {
    if (huart->Instance == USART1) {
        if (!sincronizado) {
            if (rx_byte == 0xAA) {
                // Byte de inicio recibido, pasar a modo recepcion de payload
                sincronizado = 1;
                HAL_UART_Receive_IT(&huart1, rx_payload, 8);
            } else {
                // Seguir buscando byte de inicio
                HAL_UART_Receive_IT(&huart1, &rx_byte, 1);
            }
        } else {
            // Payload completo recibido, copiar al struct de jugadores y reiniciar
            memcpy((void *)&datosJugadores, rx_payload, sizeof(datosJugadores));
            sincronizado = 0;

            memcpy(dbg_copy, rx_payload, 8);
            dbg_pending = 1;

            HAL_UART_Receive_IT(&huart1, &rx_byte, 1);
        }
    }
}

/* USER CODE END 4 */

void Error_Handler(void)
{
	__disable_irq();
	while (1) {
	}
}
